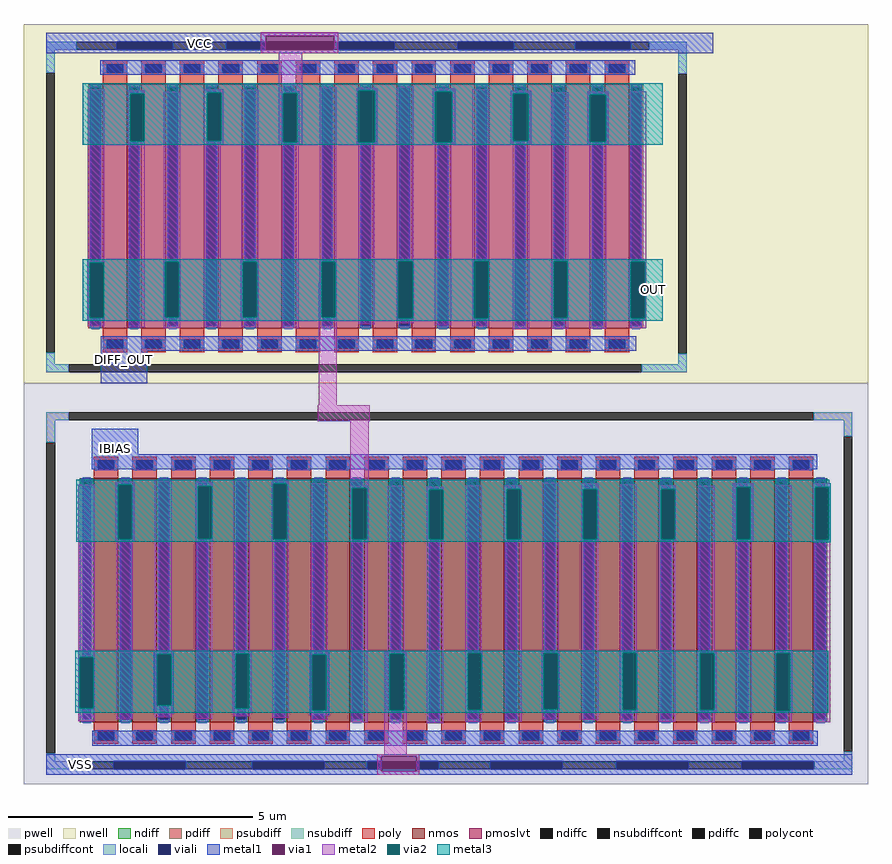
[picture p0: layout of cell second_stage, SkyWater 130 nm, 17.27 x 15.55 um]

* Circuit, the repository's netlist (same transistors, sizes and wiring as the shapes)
** sch_path: /home/dmatkin/tt07-dual-oscillator/xschem/second_stage.sch
.subckt second_stage VCC DIFF_OUT OUT IBIAS VSS
*.PININFO VCC:B VSS:B IBIAS:I DIFF_OUT:I OUT:O
XM6 OUT IBIAS VSS VSS sky130_fd_pr__nfet_01v8 L=0.5 W=5 nf=1 ad='int((nf+1)/2) * W/nf * 0.29' as='int((nf+2)/2) * W/nf * 0.29' pd='2*int((nf+1)/2) * (W/nf + 0.29)'
+ ps='2*int((nf+2)/2) * (W/nf + 0.29)' nrd='0.29 / W' nrs='0.29 / W' sa=0 sb=0 sd=0 mult=19 m=19
XM7 OUT DIFF_OUT VCC VCC sky130_fd_pr__pfet_01v8_lvt L=0.5 W=5 nf=1 ad='int((nf+1)/2) * W/nf * 0.29' as='int((nf+2)/2) * W/nf * 0.29'
+ pd='2*int((nf+1)/2) * (W/nf + 0.29)' ps='2*int((nf+2)/2) * (W/nf + 0.29)' nrd='0.29 / W' nrs='0.29 / W' sa=0 sb=0 sd=0 mult=14 m=14
.ends
.end

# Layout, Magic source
magic
tech sky130A
<< nwell >>
rect -114 738 1613 1473
<< pwell >>
rect -114 -82 1613 738
<< psubdiff >>
rect -68 662 -22 679
rect 1502 662 1581 679
rect -68 617 -50 662
rect -68 -35 -50 -19
rect 1563 630 1581 662
rect 1563 -35 1581 -16
rect -68 -52 -21 -35
rect 1503 -52 1581 -35
<< nsubdiff >>
rect -68 1420 -7 1437
rect 1165 1420 1242 1437
rect -68 1373 -51 1420
rect -68 777 -51 800
rect 1225 1371 1242 1420
rect 1225 777 1242 798
rect -68 760 -22 777
rect 1150 760 1242 777
<< psubdiffcont >>
rect -22 662 1502 679
rect -68 -19 -50 617
rect 1563 -16 1581 630
rect -21 -52 1503 -35
<< nsubdiffcont >>
rect -7 1420 1165 1437
rect -68 800 -51 1373
rect 1225 798 1242 1371
rect -22 760 1150 777
<< locali >>
rect -68 1420 -7 1437
rect 1165 1420 1242 1437
rect -68 1373 -51 1420
rect -68 777 -51 800
rect 1225 1371 1242 1420
rect 1225 777 1242 798
rect -68 760 -22 777
rect 1150 760 1242 777
rect -68 662 -22 679
rect 1502 662 1581 679
rect -68 617 -50 662
rect -68 -35 -50 -19
rect 1563 630 1581 662
rect 1563 -35 1581 -16
rect -68 -52 -21 -35
rect 1503 -52 1581 -35
<< viali >>
rect 76 1420 190 1437
rect 300 1420 414 1437
rect 530 1420 644 1437
rect 774 1420 888 1437
rect 1014 1420 1128 1437
rect 70 -52 217 -35
rect 353 -52 500 -35
rect 588 -52 735 -35
rect 840 -52 987 -35
rect 1098 -52 1245 -35
rect 1355 -52 1502 -35
<< metal1 >>
rect -68 1449 1296 1455
rect -68 1437 381 1449
rect 521 1437 1296 1449
rect -68 1420 76 1437
rect 190 1420 300 1437
rect 521 1420 530 1437
rect 644 1420 774 1437
rect 888 1420 1014 1437
rect 1128 1420 1296 1437
rect -68 1413 1296 1420
rect 42 1369 1137 1399
rect 98 1330 133 1337
rect 98 1233 103 1330
rect 132 1233 133 1330
rect 98 1225 133 1233
rect 255 1332 289 1338
rect 567 1336 609 1342
rect 255 1234 261 1332
rect 287 1234 289 1332
rect 255 1226 289 1234
rect 413 1331 449 1335
rect 413 1231 416 1331
rect 445 1231 449 1331
rect 413 1226 449 1231
rect 567 1231 570 1336
rect 604 1231 609 1336
rect 567 1226 609 1231
rect 722 1334 768 1341
rect 722 1231 727 1334
rect 761 1231 768 1334
rect 722 1226 768 1231
rect 882 1330 924 1336
rect 882 1234 887 1330
rect 918 1234 924 1330
rect 882 1226 924 1234
rect 1039 1328 1082 1334
rect 1039 1232 1044 1328
rect 1076 1232 1082 1328
rect 1039 1226 1082 1232
rect 15 987 50 992
rect 15 874 23 987
rect 15 866 50 874
rect 171 987 207 991
rect 171 873 175 987
rect 202 873 207 987
rect 171 865 207 873
rect 330 987 366 992
rect 330 873 334 987
rect 361 873 366 987
rect 330 866 366 873
rect 490 987 526 992
rect 490 873 495 987
rect 522 873 526 987
rect 490 866 526 873
rect 650 988 684 992
rect 650 871 652 988
rect 681 871 684 988
rect 650 866 684 871
rect 803 988 837 992
rect 803 871 807 988
rect 834 871 837 988
rect 803 866 837 871
rect 966 988 1000 992
rect 966 872 970 988
rect 997 872 1000 988
rect 966 866 1000 872
rect 1124 987 1159 992
rect 1124 871 1128 987
rect 1155 871 1159 987
rect 1124 866 1159 871
rect 43 804 1139 834
rect 43 738 138 804
rect 25 593 120 645
rect 25 562 1509 593
rect 73 530 113 536
rect -3 177 31 530
rect 73 419 79 530
rect 107 419 113 530
rect 73 415 113 419
rect 236 527 272 536
rect 236 420 242 527
rect 268 420 272 527
rect 74 414 110 415
rect 236 414 272 420
rect 393 532 428 538
rect 393 419 396 532
rect 424 419 428 532
rect 393 414 428 419
rect 554 523 590 528
rect 554 419 558 523
rect 585 419 590 523
rect 554 413 590 419
rect 710 520 744 526
rect 710 419 715 520
rect 741 419 744 520
rect 710 414 744 419
rect 869 521 904 529
rect 869 419 874 521
rect 900 419 904 521
rect 869 414 904 419
rect 1026 521 1062 533
rect 1026 419 1030 521
rect 1056 419 1062 521
rect 1026 414 1062 419
rect 1185 521 1220 529
rect 1185 419 1190 521
rect 1216 419 1220 521
rect 1185 414 1220 419
rect 1336 525 1378 533
rect 1336 419 1344 525
rect 1372 419 1378 525
rect 1336 415 1378 419
rect 1501 525 1537 533
rect 1501 418 1505 525
rect 1533 418 1537 525
rect 1341 414 1375 415
rect 1501 413 1537 418
rect -3 73 0 177
rect 28 73 31 177
rect -3 46 31 73
rect 152 183 192 191
rect 152 79 159 183
rect 187 79 192 183
rect 152 63 192 79
rect 312 184 352 191
rect 312 73 319 184
rect 347 73 352 184
rect 312 63 352 73
rect 471 182 511 192
rect 471 69 476 182
rect 504 69 511 182
rect 471 59 511 69
rect 624 184 669 190
rect 624 69 634 184
rect 660 69 669 184
rect 624 64 669 69
rect 789 186 824 191
rect 789 70 794 186
rect 820 70 824 186
rect 789 65 824 70
rect 945 185 981 191
rect 945 71 949 185
rect 976 71 981 185
rect 945 64 981 71
rect 1105 187 1141 191
rect 1105 70 1111 187
rect 1137 70 1141 187
rect 1105 63 1141 70
rect 1264 186 1303 191
rect 1264 70 1270 186
rect 1298 70 1303 186
rect 1264 64 1303 70
rect 1422 186 1458 192
rect 1422 68 1425 186
rect 1454 68 1458 186
rect 1422 64 1458 68
rect 26 -4 1510 27
rect -68 -25 1581 -21
rect -68 -35 617 -25
rect 690 -35 1581 -25
rect -68 -52 70 -35
rect 217 -52 353 -35
rect 500 -52 588 -35
rect 735 -52 840 -35
rect 987 -52 1098 -35
rect 1245 -52 1355 -35
rect 1502 -52 1581 -35
rect -68 -56 617 -52
rect 690 -56 1581 -52
rect -68 -63 1581 -56
<< via1 >>
rect 381 1437 521 1449
rect 381 1420 414 1437
rect 414 1420 521 1437
rect 103 1233 132 1330
rect 261 1234 287 1332
rect 416 1231 445 1331
rect 570 1231 604 1336
rect 727 1231 761 1334
rect 887 1234 918 1330
rect 1044 1232 1076 1328
rect 23 874 50 987
rect 175 873 202 987
rect 334 873 361 987
rect 495 873 522 987
rect 652 871 681 988
rect 807 871 834 988
rect 970 872 997 988
rect 1128 871 1155 987
rect 79 419 107 530
rect 242 420 268 527
rect 396 419 424 532
rect 558 419 585 523
rect 715 419 741 520
rect 874 419 900 521
rect 1030 419 1056 521
rect 1190 419 1216 521
rect 1344 419 1372 525
rect 1505 418 1533 525
rect 0 73 28 177
rect 159 79 187 183
rect 319 73 347 184
rect 476 69 504 182
rect 634 69 660 184
rect 794 70 820 186
rect 949 71 976 185
rect 1111 70 1137 187
rect 1270 70 1298 186
rect 1425 68 1454 186
rect 617 -35 690 -25
rect 617 -52 690 -35
rect 617 -56 690 -52
<< metal2 >>
rect 370 1449 529 1456
rect 370 1420 381 1449
rect 521 1420 529 1449
rect 370 1413 529 1420
rect 16 987 50 1339
rect 98 1330 133 1337
rect 98 1233 103 1330
rect 132 1233 133 1330
rect 98 1225 133 1233
rect 16 985 23 987
rect 16 872 21 985
rect 49 872 50 874
rect 16 855 50 872
rect 99 853 133 1225
rect 172 991 206 1334
rect 255 1332 294 1340
rect 255 1234 261 1332
rect 290 1234 294 1332
rect 255 1225 294 1234
rect 171 987 207 991
rect 171 873 175 987
rect 203 873 207 987
rect 171 865 207 873
rect 172 850 206 865
rect 255 854 289 1225
rect 331 992 365 1338
rect 407 1331 455 1413
rect 407 1231 416 1331
rect 445 1231 455 1331
rect 407 1225 455 1231
rect 330 987 366 992
rect 330 873 334 987
rect 362 873 366 987
rect 330 866 366 873
rect 331 854 365 866
rect 414 850 448 1225
rect 491 992 525 1344
rect 570 1342 604 1343
rect 567 1336 609 1342
rect 567 1231 570 1336
rect 604 1231 609 1336
rect 567 1226 609 1231
rect 490 987 526 992
rect 490 945 495 987
rect 489 873 495 945
rect 523 873 526 987
rect 489 693 526 873
rect 570 859 604 1226
rect 650 988 684 1345
rect 722 1334 768 1341
rect 722 1231 727 1334
rect 761 1231 768 1334
rect 722 1226 768 1231
rect 650 871 652 988
rect 681 871 684 988
rect 650 861 684 871
rect 726 857 760 1226
rect 803 988 837 1339
rect 882 1330 924 1336
rect 882 1234 887 1330
rect 918 1234 924 1330
rect 882 1226 924 1234
rect 803 871 807 988
rect 836 871 837 988
rect 803 855 837 871
rect 886 848 920 1226
rect 966 988 1000 1333
rect 1039 1328 1082 1334
rect 1039 1232 1044 1328
rect 1076 1232 1082 1328
rect 1039 1226 1082 1232
rect 966 872 970 988
rect 998 872 1000 988
rect 966 849 1000 872
rect 1043 849 1077 1226
rect 1125 992 1159 1335
rect 1124 987 1159 992
rect 1124 871 1128 987
rect 1156 871 1159 987
rect 1124 866 1159 871
rect 1125 851 1159 866
rect 487 660 593 693
rect 73 530 113 536
rect -3 177 31 530
rect 73 419 79 530
rect 107 419 113 530
rect 73 415 113 419
rect -3 73 0 177
rect 28 73 31 177
rect -3 46 31 73
rect 75 50 109 415
rect 154 183 188 539
rect 154 79 159 183
rect 187 79 188 183
rect 154 55 188 79
rect 237 527 271 536
rect 237 420 242 527
rect 270 420 271 527
rect 237 52 271 420
rect 314 191 348 541
rect 393 532 428 538
rect 393 419 396 532
rect 424 419 428 532
rect 393 414 428 419
rect 312 184 352 191
rect 312 73 319 184
rect 347 73 352 184
rect 312 63 352 73
rect 314 57 348 63
rect 394 54 428 414
rect 474 182 508 533
rect 554 523 591 660
rect 554 419 558 523
rect 587 420 591 523
rect 587 419 590 420
rect 554 413 590 419
rect 474 69 476 182
rect 504 69 508 182
rect 474 49 508 69
rect 555 44 589 413
rect 630 191 664 528
rect 710 520 744 526
rect 710 419 715 520
rect 623 185 669 191
rect 623 69 634 185
rect 664 69 669 185
rect 623 -21 669 69
rect 710 42 744 419
rect 789 186 823 529
rect 869 521 904 529
rect 869 419 874 521
rect 902 419 904 521
rect 869 414 904 419
rect 789 70 794 186
rect 822 70 823 186
rect 789 45 823 70
rect 870 45 904 414
rect 946 186 980 534
rect 1026 521 1062 533
rect 1026 419 1030 521
rect 1058 419 1062 521
rect 1026 414 1062 419
rect 946 71 949 186
rect 978 71 980 186
rect 946 50 980 71
rect 1027 49 1061 414
rect 1106 187 1140 531
rect 1106 70 1111 187
rect 1139 70 1140 187
rect 1106 47 1140 70
rect 1185 521 1220 529
rect 1185 419 1190 521
rect 1218 419 1220 521
rect 1185 414 1220 419
rect 1185 45 1219 414
rect 1265 191 1299 528
rect 1336 525 1378 533
rect 1336 419 1344 525
rect 1372 419 1378 525
rect 1336 415 1378 419
rect 1264 186 1303 191
rect 1264 70 1270 186
rect 1298 70 1303 186
rect 1264 64 1303 70
rect 1265 44 1299 64
rect 1341 45 1375 415
rect 1423 192 1457 529
rect 1501 525 1537 533
rect 1501 418 1505 525
rect 1533 418 1537 525
rect 1501 413 1537 418
rect 1422 186 1458 192
rect 1422 68 1425 186
rect 1454 68 1458 186
rect 1422 64 1458 68
rect 1423 45 1457 64
rect 1502 44 1536 413
rect 609 -25 695 -21
rect 609 -56 617 -25
rect 690 -56 695 -25
rect 609 -63 695 -56
<< via2 >>
rect 103 1233 132 1330
rect 21 874 23 985
rect 23 874 49 985
rect 21 872 49 874
rect 261 1234 287 1332
rect 287 1234 290 1332
rect 175 873 202 987
rect 202 873 203 987
rect 416 1231 445 1331
rect 334 873 361 987
rect 361 873 362 987
rect 570 1231 604 1336
rect 495 873 522 987
rect 522 873 523 987
rect 727 1231 761 1334
rect 652 871 681 988
rect 887 1234 918 1330
rect 807 871 834 988
rect 834 871 836 988
rect 1044 1232 1076 1328
rect 970 872 997 988
rect 997 872 998 988
rect 1128 871 1155 987
rect 1155 871 1156 987
rect 79 419 107 530
rect 0 73 28 177
rect 159 79 187 183
rect 242 420 268 527
rect 268 420 270 527
rect 396 419 424 532
rect 319 73 347 184
rect 558 419 585 523
rect 585 419 587 523
rect 476 69 504 182
rect 715 419 741 520
rect 741 419 744 520
rect 634 184 664 185
rect 634 69 660 184
rect 660 69 664 184
rect 874 419 900 521
rect 900 419 902 521
rect 794 70 820 186
rect 820 70 822 186
rect 1030 419 1056 521
rect 1056 419 1058 521
rect 949 185 978 186
rect 949 71 976 185
rect 976 71 978 185
rect 1111 70 1137 187
rect 1137 70 1139 187
rect 1190 419 1216 521
rect 1216 419 1218 521
rect 1344 419 1372 525
rect 1270 70 1298 186
rect 1505 418 1533 525
rect 1425 68 1454 186
<< metal3 >>
rect 6 1336 1193 1352
rect 6 1332 570 1336
rect 6 1330 261 1332
rect 6 1233 103 1330
rect 132 1234 261 1330
rect 290 1331 570 1332
rect 290 1234 416 1331
rect 132 1233 416 1234
rect 6 1231 416 1233
rect 445 1231 570 1331
rect 604 1334 1193 1336
rect 604 1231 727 1334
rect 761 1330 1193 1334
rect 761 1234 887 1330
rect 918 1328 1193 1330
rect 918 1234 1044 1328
rect 761 1232 1044 1234
rect 1076 1232 1193 1328
rect 761 1231 1193 1232
rect 6 1226 1193 1231
rect 6 988 1193 992
rect 6 987 652 988
rect 6 985 175 987
rect 6 872 21 985
rect 49 873 175 985
rect 203 873 334 987
rect 362 873 495 987
rect 523 873 652 987
rect 49 872 652 873
rect 6 871 652 872
rect 681 871 807 988
rect 836 872 970 988
rect 998 987 1193 988
rect 998 872 1128 987
rect 836 871 1128 872
rect 1156 871 1193 987
rect 6 866 1193 871
rect -7 533 1534 541
rect -7 532 1537 533
rect -7 530 396 532
rect -7 419 79 530
rect 107 527 396 530
rect 107 420 242 527
rect 270 420 396 527
rect 107 419 396 420
rect 424 525 1537 532
rect 424 523 1344 525
rect 424 419 558 523
rect 587 521 1344 523
rect 587 520 874 521
rect 587 419 715 520
rect 744 419 874 520
rect 902 419 1030 521
rect 1058 419 1190 521
rect 1218 419 1344 521
rect 1372 419 1505 525
rect -7 418 1505 419
rect 1533 418 1537 525
rect -7 414 1537 418
rect 1501 413 1537 414
rect 1422 191 1458 192
rect -9 187 1532 191
rect -9 186 1111 187
rect -9 185 794 186
rect -9 184 634 185
rect -9 183 319 184
rect -9 177 159 183
rect -9 73 0 177
rect 28 79 159 177
rect 187 79 319 183
rect 28 73 319 79
rect 347 182 634 184
rect 347 73 476 182
rect -9 69 476 73
rect 504 69 634 182
rect 664 70 794 185
rect 822 71 949 186
rect 978 71 1111 186
rect 822 70 1111 71
rect 1139 186 1532 187
rect 1139 70 1270 186
rect 1298 70 1425 186
rect 664 69 1425 70
rect -9 68 1425 69
rect 1454 68 1532 186
rect -9 64 1532 68
use sky130_fd_pr__nfet_01v8_U9XYXH  sky130_fd_pr__nfet_01v8_U9XYXH_0
transform 1 0 212 0 1 294
box -54 -294 54 294
use sky130_fd_pr__nfet_01v8_U9XYXH  sky130_fd_pr__nfet_01v8_U9XYXH_1
transform 1 0 54 0 1 294
box -54 -294 54 294
use sky130_fd_pr__nfet_01v8_U9XYXH  sky130_fd_pr__nfet_01v8_U9XYXH_2
transform 1 0 133 0 1 294
box -54 -294 54 294
use sky130_fd_pr__nfet_01v8_U9XYXH  sky130_fd_pr__nfet_01v8_U9XYXH_3
transform 1 0 449 0 1 294
box -54 -294 54 294
use sky130_fd_pr__nfet_01v8_U9XYXH  sky130_fd_pr__nfet_01v8_U9XYXH_4
transform 1 0 291 0 1 294
box -54 -294 54 294
use sky130_fd_pr__nfet_01v8_U9XYXH  sky130_fd_pr__nfet_01v8_U9XYXH_5
transform 1 0 370 0 1 294
box -54 -294 54 294
use sky130_fd_pr__nfet_01v8_U9XYXH  sky130_fd_pr__nfet_01v8_U9XYXH_6
transform 1 0 686 0 1 294
box -54 -294 54 294
use sky130_fd_pr__nfet_01v8_U9XYXH  sky130_fd_pr__nfet_01v8_U9XYXH_7
transform 1 0 528 0 1 294
box -54 -294 54 294
use sky130_fd_pr__nfet_01v8_U9XYXH  sky130_fd_pr__nfet_01v8_U9XYXH_8
transform 1 0 607 0 1 294
box -54 -294 54 294
use sky130_fd_pr__nfet_01v8_U9XYXH  sky130_fd_pr__nfet_01v8_U9XYXH_9
transform 1 0 923 0 1 294
box -54 -294 54 294
use sky130_fd_pr__nfet_01v8_U9XYXH  sky130_fd_pr__nfet_01v8_U9XYXH_10
transform 1 0 765 0 1 294
box -54 -294 54 294
use sky130_fd_pr__nfet_01v8_U9XYXH  sky130_fd_pr__nfet_01v8_U9XYXH_11
transform 1 0 844 0 1 294
box -54 -294 54 294
use sky130_fd_pr__nfet_01v8_U9XYXH  sky130_fd_pr__nfet_01v8_U9XYXH_12
transform 1 0 1081 0 1 294
box -54 -294 54 294
use sky130_fd_pr__nfet_01v8_U9XYXH  sky130_fd_pr__nfet_01v8_U9XYXH_13
transform 1 0 1002 0 1 294
box -54 -294 54 294
use sky130_fd_pr__nfet_01v8_U9XYXH  sky130_fd_pr__nfet_01v8_U9XYXH_14
transform 1 0 1476 0 1 294
box -54 -294 54 294
use sky130_fd_pr__nfet_01v8_U9XYXH  sky130_fd_pr__nfet_01v8_U9XYXH_15
transform 1 0 1160 0 1 294
box -54 -294 54 294
use sky130_fd_pr__nfet_01v8_U9XYXH  sky130_fd_pr__nfet_01v8_U9XYXH_16
transform 1 0 1239 0 1 294
box -54 -294 54 294
use sky130_fd_pr__nfet_01v8_U9XYXH  sky130_fd_pr__nfet_01v8_U9XYXH_17
transform 1 0 1318 0 1 294
box -54 -294 54 294
use sky130_fd_pr__nfet_01v8_U9XYXH  sky130_fd_pr__nfet_01v8_U9XYXH_18
transform 1 0 1397 0 1 294
box -54 -294 54 294
use sky130_fd_pr__pfet_01v8_lvt_YS6JVD  sky130_fd_pr__pfet_01v8_lvt_YS6JVD_0
transform 1 0 72 0 1 1100
box -72 -300 72 300
use sky130_fd_pr__pfet_01v8_lvt_YS6JVD  sky130_fd_pr__pfet_01v8_lvt_YS6JVD_1
transform 1 0 151 0 1 1100
box -72 -300 72 300
use sky130_fd_pr__pfet_01v8_lvt_YS6JVD  sky130_fd_pr__pfet_01v8_lvt_YS6JVD_2
transform 1 0 230 0 1 1100
box -72 -300 72 300
use sky130_fd_pr__pfet_01v8_lvt_YS6JVD  sky130_fd_pr__pfet_01v8_lvt_YS6JVD_3
transform 1 0 309 0 1 1100
box -72 -300 72 300
use sky130_fd_pr__pfet_01v8_lvt_YS6JVD  sky130_fd_pr__pfet_01v8_lvt_YS6JVD_4
transform 1 0 388 0 1 1100
box -72 -300 72 300
use sky130_fd_pr__pfet_01v8_lvt_YS6JVD  sky130_fd_pr__pfet_01v8_lvt_YS6JVD_5
transform 1 0 467 0 1 1100
box -72 -300 72 300
use sky130_fd_pr__pfet_01v8_lvt_YS6JVD  sky130_fd_pr__pfet_01v8_lvt_YS6JVD_6
transform 1 0 546 0 1 1100
box -72 -300 72 300
use sky130_fd_pr__pfet_01v8_lvt_YS6JVD  sky130_fd_pr__pfet_01v8_lvt_YS6JVD_7
transform 1 0 625 0 1 1100
box -72 -300 72 300
use sky130_fd_pr__pfet_01v8_lvt_YS6JVD  sky130_fd_pr__pfet_01v8_lvt_YS6JVD_8
transform 1 0 704 0 1 1100
box -72 -300 72 300
use sky130_fd_pr__pfet_01v8_lvt_YS6JVD  sky130_fd_pr__pfet_01v8_lvt_YS6JVD_9
transform 1 0 783 0 1 1100
box -72 -300 72 300
use sky130_fd_pr__pfet_01v8_lvt_YS6JVD  sky130_fd_pr__pfet_01v8_lvt_YS6JVD_10
transform 1 0 862 0 1 1100
box -72 -300 72 300
use sky130_fd_pr__pfet_01v8_lvt_YS6JVD  sky130_fd_pr__pfet_01v8_lvt_YS6JVD_11
transform 1 0 941 0 1 1100
box -72 -300 72 300
use sky130_fd_pr__pfet_01v8_lvt_YS6JVD  sky130_fd_pr__pfet_01v8_lvt_YS6JVD_12
transform 1 0 1020 0 1 1100
box -72 -300 72 300
use sky130_fd_pr__pfet_01v8_lvt_YS6JVD  sky130_fd_pr__pfet_01v8_lvt_YS6JVD_13
transform 1 0 1099 0 1 1100
box -72 -300 72 300
<< labels >>
flabel metal1 -68 -63 70 -21 0 FreeSans 400 0 0 0 VSS
port 5 nsew
flabel metal1 190 1413 300 1455 0 FreeSans 400 0 0 0 VCC
port 6 nsew
flabel metal3 1156 866 1193 992 0 FreeSans 400 0 0 0 OUT
port 7 nsew
flabel metal1 25 562 120 645 0 FreeSans 400 0 0 0 IBIAS
port 8 nsew
flabel metal1 43 738 138 834 0 FreeSans 400 0 0 0 DIFF_OUT
port 9 nsew
<< end >>

# cell sky130_fd_pr__nfet_01v8_U9XYXH: kit device sky130_fd_pr__nfet_01v8, w 5 l 0.5 m 1 nf 1 diffcov 100 polycov 100 guard 0 glc 0 grc 0 gtc 0 gbc 0 tbcov 100 rlcov 100 topc 1 botc 1 poverlap 0 doverlap 1 lmin 0.15 wmin 0.42 compatible {sky130_fd_pr__nfet_01v8 sky130_fd_pr__nfet_01v8_lvt sky130_fd_bs_flash__special_sonosfet_star sky130_fd_pr__nfet_g5v0d10v5 sky130_fd_pr__nfet_05v0_nvt sky130_fd_pr__nfet_03v3_nvt} full_metal 0 viasrc 100 viadrn 100 viagate 100 viagb 0 viagr 0 viagl 0 viagt 0

# cell sky130_fd_pr__pfet_01v8_lvt_YS6JVD: kit device sky130_fd_pr__pfet_01v8_lvt, w 5 l 0.5 m 1 nf 1 diffcov 100 polycov 100 guard 0 glc 0 grc 0 gtc 0 gbc 0 tbcov 100 rlcov 100 topc 1 botc 1 poverlap 0 doverlap 1 lmin 0.15 wmin 0.42 compatible {sky130_fd_pr__pfet_01v8 sky130_fd_pr__pfet_01v8_lvt sky130_fd_pr__pfet_01v8_hvt sky130_fd_pr__pfet_g5v0d10v5} full_metal 0 viasrc 100 viadrn 100 viagate 100 viagb 0 viagr 0 viagl 0 viagt 0
